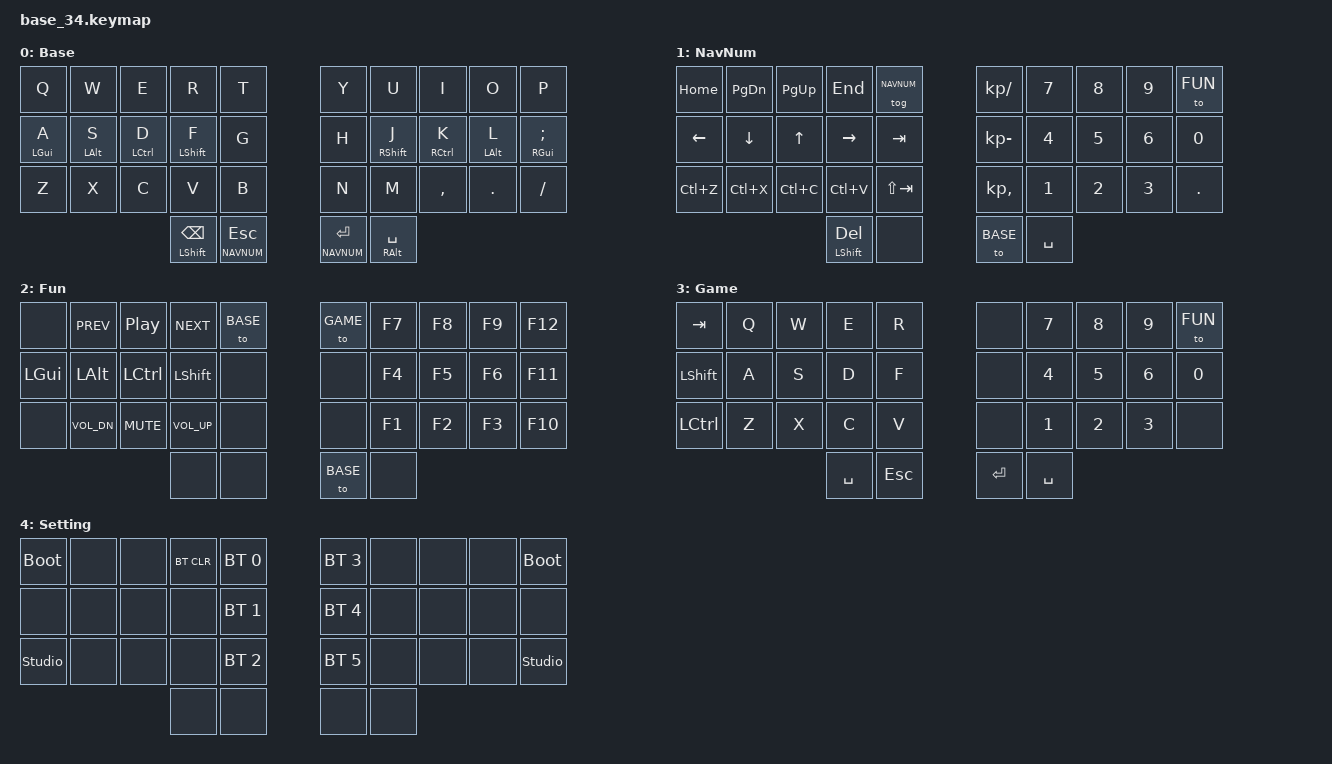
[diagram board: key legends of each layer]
/*
 * Copyright (c) 2020 duckyb
 *
 * SPDX-License-Identifier: MIT
 */

#include <behaviors.dtsi>
#include <dt-bindings/zmk/keys.h>
#include <dt-bindings/zmk/bt.h>
#include <dt-bindings/zmk/outputs.h>

// urob zmk-helpers
//#include "zmk-helpers/helper.h"
// Source desired key-position labels
//#include "zmk-helpers/key-labels/34.h"
// Source unicode-chars for desired languages
//#include "zmk-helpers/unicode-chars/german.dtsi"

// local includes
//#include "keymap_french.h"

// Homerow mods
//#define KEYS_L LT0 LT1 LT2 LT3 LT4 LM0 LM1 LM2 LM3 LM4 LB0 LB1 LB2 LB3 LB4
//#define KEYS_R RT0 RT1 RT2 RT3 RT4 RM0 RM1 RM2 RM3 RM4 RB0 RB1 RB2 RB3 RB4
//#define THUMBS LH1 LH0 RH0 RH1

// Layer definitions
#define BASE 0
#define NAVNUM 1
#define FUN 2
#define GAME 3
//#define SYM 1
//#define EXT 2
//#define FNC 3
//#define SYM2 4
//#define ACCENT 5
#define SETTINGS 4
// -----------------

&sk {
	// don't release mods on other mods presses
	ignore-modifiers;
};


/ {
	behaviors {
		// Enables holding the first mod-tap key
		// by performing a tap-release-hold sequence.
		// To use it: "&qt KEYCODE1 KEYCODE2"
		qt: quick_tap {
			compatible = "zmk,behavior-hold-tap";
			label = "QUICK_TAP";
			#binding-cells = <2>;
			flavor = "hold-preferred";
			tapping-term-ms = <200>;
			quick-tap-ms = <200>;
			bindings = <&kp>, <&kp>;
		};

		// Layer activation variant
		qlt: quick_layer_tap {
			compatible = "zmk,behavior-hold-tap";
			label = "QUICK_LAYER_TAP";
			#binding-cells = <2>;
			flavor = "hold-preferred";
			tapping-term-ms = <200>;
			quick-tap-ms = <200>;
			bindings = <&mo>, <&kp>;
		};

		// Homerow mods
		hml: home_row_mod_left {
            compatible = "zmk,behavior-hold-tap";
            #binding-cells = <2>;
            flavor = "balanced";
            require-prior-idle-ms = <150>;
            tapping-term-ms = <280>;
            quick-tap-ms = <175>;
            bindings = <&kp>, <&kp>;
            hold-trigger-key-positions = <0 1 2 3 4 10 11 12 13 14 20 21 22 23 24 30 31>; // List of keys on the right side of the keyboard
            hold-trigger-on-release;
        };

        hmr: home_row_mod_right {
            compatible = "zmk,behavior-hold-tap";
            #binding-cells = <2>;
            flavor = "balanced";
            require-prior-idle-ms = <150>;
            tapping-term-ms = <280>;
            quick-tap-ms = <175>;
            bindings = <&kp>, <&kp>;
            hold-trigger-key-positions = <5 6 7 8 9 15 16 17 18 19 25 26 27 28 29 32 33>; // List of keys on the left side of the keyboard
            hold-trigger-on-release;
        };
	};

	macros {
		// sometimes my device thinks a modifier is being held down
		// pressing all modifiers fixes it.
		/*
		unstick: unstick {
			label = "ZM_unstick";
			compatible = "zmk,behavior-macro";
			#binding-cells = <0>;
			bindings = <&kp LSHIFT &kp RSHIFT &kp LCTRL &kp RCTRL &kp LALT &kp RALT &kp LGUI &kp RGUI>;
		};
		*/
	};

	combos {
		compatible = "zmk,combos";
		// both right thumb keys
		/*
		combo_accent {
			timeout-ms = <200>;
			key-positions = <32 33>;
			bindings = <&mo ACCENT>;
		};
		*/
		// internal-left & external-right thumb keys
		/*
		combo_sym2 {
			timeout-ms = <200>;
			key-positions = <31 33>;
			bindings = <&mo SYM2>;
		};
		*/
		// both left thumb keys
		combo_settings {
			timeout-ms = <200>;
			key-positions = <30 31>;
			bindings = <&mo SETTINGS>;
		};
		// left index & middle fingers (home-row)
		// hold control & space for Adobe workflow
		/*
		combo_ctrl_space {
			timeout-ms = <200>;
			key-positions = <12 13>;
			bindings = <&kp LC(SPACE)>;
			layers = <BASE>;
		};
		*/
		// enable/disable navigation and numbers layer
		combo_navnum {
			timeout-ms = <200>;
			key-positions = <4 32>;
			bindings = <&tog NAVNUM>;
			layers = <BASE>;
		};
		// enable/disable game layer
		combo_game {
			timeout-ms = <200>;
			key-positions = <4 32>;
			bindings = <&to BASE>;
			layers = <GAME>;
		};
		// enable caps word
		combo_caps_word {
			timeout-ms = <200>;
			key-positions = <24 25>;
			bindings = <&caps_word>;
			layers = <BASE>;
		};
	};

	keymap {
		compatible = "zmk,keymap";
		// Base alpha layer
		// Homerow mods GACS (see https://precondition.github.io/home-row-mods#gacs)
		default_layer {
			label = "Base";
			display-name = "Base";
			bindings = <
			&kp Q &kp W &kp E &kp R &kp T                               &kp Y &kp U  &kp I     &kp O   &kp P
			&hml LGUI A &hml LALT S &hml LCTRL D &hml LSHIFT F &kp G    &kp H &hmr RSHIFT J &hmr RCTRL K &hmr LALT L &hmr RGUI SEMI
			&kp Z &kp X &kp C &kp V &kp B                               &kp N &kp M  &kp COMMA &kp DOT &kp SLASH
							         &qt LSHIFT BSPC &qlt NAVNUM ESC    &qlt NAVNUM ENTER &qt RALT SPACE
			>;
		};

		// Navigation and numbers
		/*
		navnum_layer {
			label = "NavNum";
			bindings = <
			&kp TAB &kp HOME &kp UP &kp END &kp PG_UP                  &kp SLASH &kp N7 &kp N8 &kp N9 &to FUN
			&kp CAPS &kp LEFT &kp DOWN &kp RIGHT &kp PG_DN             &kp MINUS &kp N4 &kp N5 &kp N6 &kp N0
			&none &kp C_VOL_DN &kp C_MUTE &kp C_VOL_UP &kp LS(TAB)     &kp COMMA &kp N1 &kp N2 &kp N3 &kp DOT
							&qt LSHIFT ESC &kp DEL        &kp SPACE &qt RALT ENTER
			>;
		};
		*/

		// Navigation and numbers (vim-like)
		navnum_layer {
			label = "NavNum";
			display-name = "NavNum";
			bindings = <
			&kp HOME &kp PG_DN &kp PG_UP &kp END &tog NAVNUM         &kp KP_SLASH &kp N7 &kp N8 &kp N9 &to FUN
			&kp LEFT &kp DOWN &kp UP &kp RIGHT &kp TAB               &kp KP_MINUS &kp N4 &kp N5 &kp N6 &kp N0
			&kp LC(Z) &kp LC(X) &kp LC(C) &kp LC(V) &kp LS(TAB)      &kp KP_COMMA &kp N1 &kp N2 &kp N3 &kp DOT
							                 &qt LSHIFT DEL &none    &to BASE &kp SPACE
			>;
		};

		// Function keys
		fun_layer {
			label = "Fun";
			display-name = "Fun";
			bindings = <
			&none &kp C_PREV &kp C_PLAY_PAUSE &kp C_NEXT &to BASE      &to GAME &kp F7 &kp F8 &kp F9 &kp F12
			&kp LGUI &kp LALT &kp LCTRL &kp LSHIFT &none               &none &kp F4 &kp F5 &kp F6 &kp F11
			&none &kp C_VOL_DN &kp C_MUTE &kp C_VOL_UP &none           &none &kp F1 &kp F2 &kp F3 &kp F10
							                          &none &none      &to BASE &none
			>;
		};

		// Gaming layer
		game_layer {
			label = "Game";
			display-name = "Game";
			bindings = <
			&kp TAB &kp Q &kp W &kp E &kp R       &none &kp N7 &kp N8 &kp N9 &to FUN
			&kp LSHIFT &kp A &kp S &kp D &kp F    &none &kp N4 &kp N5 &kp N6 &kp N0
			&kp LCTRL &kp Z &kp X &kp C &kp V     &none &kp N1 &kp N2 &kp N3 &none
							 &kp SPACE &kp ESC    &kp ENTER &kp SPACE
			>;
		};

		// Numbers layer
		/*
		numbers_layer {
			label = "Num";
			bindings = <
			&none &kp N7 &kp N8 &kp N9 &kp SLASH            &kp TAB &kp HOME &kp PG_DN &kp PG_UP &kp END
			&kp N0 &kp N4 &kp N5 &kp N6 &kp MINUS           &none &kp LEFT &kp DOWN &kp UP &kp RIGHT
			&kp DOT &kp N1 &kp N2 &kp N3 &kp COMMA          &none &kp C_VOL_DN &kp C_MUTE &kp C_VOL_UP &kp LS(TAB)
							&qt LSHIFT ESC &kp DEL        &kp SPACE &qt RALT ENTER
			>;
		};
		*/

		// Numbers and high frequency symbols
		/*
		sym_layer {
			label = "Sym.";
			bindings = <
			&kp N1 &kp N2 &kp N3 &kp N4 &kp N5		                                    &kp N6 &kp N7 &kp N8 &kp N9 &kp N0
			&kp IT_LESS &kp IT_USD &kp IT_LPAR &kp IT_LBRC &kp IT_LBKT  &kp IT_EQL &kp IT_QUES &kp IT_SQUOT &kp IT_MINUS &kp IT_AST
			&kp IT_GREAT &kp IT_PERC &kp IT_RPAR &kp IT_RBRC &kp IT_RBKT 	&kp IT_AT &kp IT_EXCL &kp IT_DQUOT &kp IT_PLUS &kp IT_FSLH
														&mo FNC  &mo SYM2       &trans &trans
			>;
		};
		*/

		// Main modifiers and arrow keys
		/*
		ext_layer {
			label = "Mods";
			bindings = <
			&kp ESC  &kp C_PREV &kp C_PP  &kp C_NEXT  &kp C_PAUSE    	&kp PG_UP  &kp HOME &kp UP &kp END &kp CAPS
			&sk LALT &sk LGUI  &sk LSHIFT  &sk LCTRL  &kp RALT 			&kp PG_DN &kp LEFT  &kp DOWN  &kp RIGHT   &kp DEL
			&kp LC(Z)  &kp LC(X) &kp LC(C) &kp TAB   &kp LC(V)          &kp LC(BSPC) &kp BSPC &trans &trans  &trans
																		&trans &kp LCTRL    &kp ENTER  &mo FNC
			>;
		};
		*/

		// Function keys with modifiers
		/*
		fnc_layer {
			label = "FRow";
			bindings = <
			&kp F1 &kp F2 &kp F3 &kp F4 &kp F5                  &kp F6 &kp F7 &kp F8 &kp F9 &kp F10
			&sk LALT &sk LGUI &sk LSHIFT &sk LCTRL &kp RALT     &kp F11 &kp F12  &kp PRINTSCREEN &trans &trans
			&none &none &none &none &none				          &none &none &none &none &none
							  &none &none              &none &none
			>;
		};
		*/

		// Low frequency symbols.
		/*
		symbols_2_layer {
			label = "Sym.2";
			bindings = <
			&kp IT_CARET &kp IT_UNDER &kp IT_PND &kp IT_EUR &kp IT_HASH         &none &none &none &none &none
			&kp IT_BKTK &kp IT_TILDE &kp IT_BSLH &kp IT_PIPE &kp IT_AND         &none &none &none &none &none
			&none 			&none 			 &kp IT_SECT &kp IT_CCED &kp IT_DEG				  &none &none &none &none &none
																	&none &none        	&none &none
			>;
		};
		*/

		// Used to type regional accents.
		/*
		accent_layer {
			label = "Accent";
			bindings = <
			&none &none &none &kp IT_CEGR &none                         &none &none &none &none &none
			&kp IT_AGRV &kp IT_IGRV &kp IT_OGRV &kp IT_EGRV &kp IT_EACU &none &none &none &none &none
			&none &none &none &kp IT_UGRV &none                         &none &none &none &none &none
									&none &none                         &none &none
			>;
		};
		*/

		// Used to change the keyboard's settings.
		settings_layer {
				label = "Setting";
				display-name = "Setting";
				bindings = <
				&bootloader &none &none &bt BT_CLR &bt BT_SEL 0    &bt BT_SEL 3 &none &none &none &bootloader
				&none &none &none &none &bt BT_SEL 1 			   &bt BT_SEL 4 &none &none &none &none
				&studio_unlock &none &none &none &bt BT_SEL 2      &bt BT_SEL 5 &none &none &none &studio_unlock
										            &none &none    &none &none
				>;
		};
	};
};
